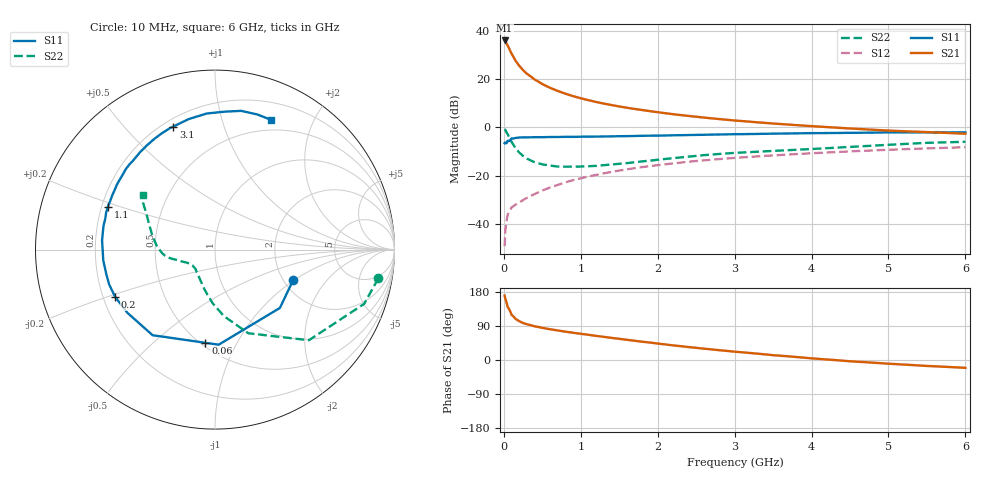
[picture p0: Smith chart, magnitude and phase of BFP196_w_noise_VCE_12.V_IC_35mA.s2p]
! Infineon Technologies  Discrete & RF Semiconductors
! BFP196
! VCE =  12. V,  IC =  35 mA
! Common Emitter S-Parameters:  Jan 2017
# GHz  S  MA  R  50
!  f  S11  S21  S12  S22
! GHz  MAG  ANG  MAG  ANG  MAG  ANG  MAG  ANG
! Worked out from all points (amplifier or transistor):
!   77 points, 10 MHz to 6 GHz, reference 50 ohm
!   highest |S21| = 36.1 dB at 10 MHz (marker M1)
!   |S21| within 3 dB of that: start of sweep to 63.71 MHz
!   unconditionally stable (mu >= 1): 666.7 MHz to 2.406 GHz
!   at 130 MHz: K = 0.50, MSG = 30.8 dB, |S12| = -32.6 dB
!   at 2.2 GHz: K = 1.01, MAG = 9.5 dB, |S12| = -15.0 dB
!   at 6 GHz: K = 0.93, MSG = 2.8 dB, |S12| = -8.2 dB
!   lowest NFmin = 1.28 dB at 450 MHz
!   S11 on the Smith chart (normalised r, x): 10 MHz: 2.24, -0.98; 60 MHz: 0.53, -0.75; 200 MHz: 0.25, -0.21; 1.1 GHz: 0.22, +0.18; 3.1 GHz: 0.24, +0.69; 6 GHz: 0.38, +1.45
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0.01  0.4672 -21.5  64.05 170.0  0.0034 68.0  0.9239 -10.0
0.02  0.4862 -41.9  62.19 161.3  0.0074 73.5  0.8843 -20.0
0.05  0.5302 -87.8  50.26 139.7  0.0153 56.8  0.7269 -44.0
0.06  0.522 -95.9  46.66 136.8  0.0165 54.9  0.6742 -47.5
0.1  0.5903 -126.1  34.08 119.3  0.0215 49.4  0.5015 -68.3
0.15  0.6021 -144.3  24.59 108.9  0.0247 47.8  0.3734 -82.4
0.2  0.6156 -154.7  19.07 102.4  0.0273 50.4  0.3011 -92.2
0.25  0.621 -161.9  15.49 97.6  0.0309 51.4  0.2548 -99.5
0.3  0.6207 -167.1  13.01 94.3  0.0343 53.8  0.224 -106.0
0.4  0.6254 -174.5  9.897 88.9  0.0411 57.2  0.1887 -115.6
0.5  0.6261 179.9  7.946 84.8  0.0486 59.3  0.1707 -123.3
0.6  0.6314 175.3  6.66 81.2  0.0564 60.6  0.1607 -129.7
0.7  0.632 171.6  5.717 78.0  0.0636 62.3  0.1537 -134.5
0.9  0.6351 164.3  4.456 71.9  0.0801 62.1  0.1528 -141.8
1.1  0.6431 158.1  3.675 66.5  0.0954 61.5  0.1558 -147.2
1.5  0.6557 146.5  2.719 55.9  0.1267 58.4  0.175 -155.8
2.1  0.6785 130.2  1.972 41.1  0.1713 52.0  0.2206 -164.7
2.6  0.703 118.9  1.599 29.9  0.2065 45.9  0.265 -170.7
3.1  0.7239 108.7  1.351 20.3  0.2378 39.9  0.3007 -177.7
4.1  0.7607 92.0  1.038 2.9  0.2951 28.3  0.3624 166.1
5.1  0.7863 78.0  0.845 -10.9  0.3472 16.8  0.4431 150.8
6  0.7877 66.8  0.739 -20.7  0.3874 6.7  0.502 142.7
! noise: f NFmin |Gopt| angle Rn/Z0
0.45  1.28  0.35  173  0.05
0.9  1.44  0.45  -169  0.07
1.9  2.27  0.68  -134  0.27
2.4  2.68  0.71  -121  0.61
